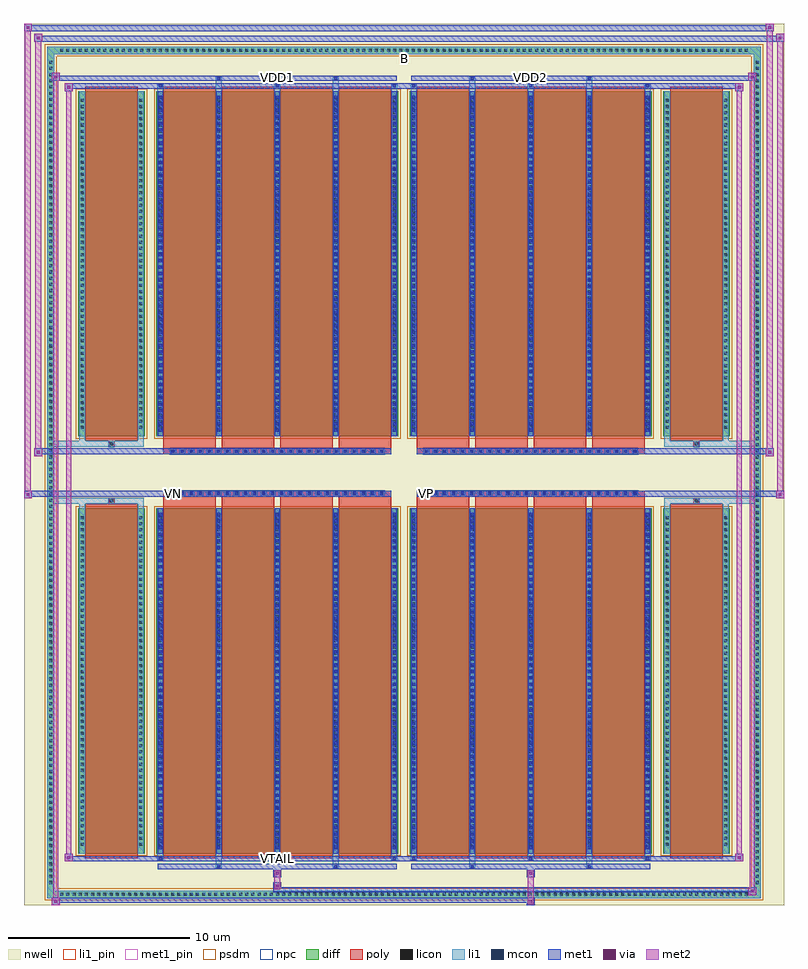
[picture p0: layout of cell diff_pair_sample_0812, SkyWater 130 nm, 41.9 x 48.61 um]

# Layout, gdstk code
import gdstk
lib = gdstk.Library(unit=1e-6, precision=5e-09)
def R(c, l, rs):  # rectangles x0, y0, x1, y1
    for r in rs: c.add(gdstk.rectangle(r[:2], r[2:], *l))
def A(c, l, x, y, w, h, nx, ny, dx, dy):  # array of equal rectangles
    R(c, l, [(x+i*dx, y+j*dy, x+i*dx+w, y+j*dy+h) for i in range(nx) for j in range(ny)])
def P(c, l, *ps):  # polygons
    for p in ps: c.add(gdstk.Polygon(p, *l))
nwell = (64, 20)
diff = (65, 20)
poly = (66, 20)
licon = (66, 44)
li1_pin = (67, 16)
li1 = (67, 20)
mcon = (67, 44)
met1_pin = (68, 16)
met1 = (68, 20)
via = (68, 44)
met2 = (69, 20)
psdm = (94, 20)
npc = (95, 20)

diff_pair_sample_0812 = lib.new_cell('diff_pair_sample_0812')
R(diff_pair_sample_0812, nwell, [(-20.95,-23.87,20.95,24.74), (-18.27,-22.06,-0.01,-0.8), (0.01,-22.06,18.27,-0.8), (-18.27,0.8,-0.01,22.06), (0.01,0.8,18.27,22.06)])
A(diff_pair_sample_0812, diff, -19.075, -23.47, 0.41, 0.41, 112, 2, 0.34, 46.53)
A(diff_pair_sample_0812, diff, -19.68, -22.815, 0.41, 0.41, 1, 134, 0, 0.34)
A(diff_pair_sample_0812, diff, 19.27, -22.815, 0.41, 0.41, 1, 134, 0, 0.34)
R(diff_pair_sample_0812, diff, [(-19.075,-23.47,19.075,-23.06), (-19.68,-22.815,-19.27,22.815), (19.27,-22.815,19.68,22.815), (-17.96,-21.015,-14.29,-1.985), (-13.65,-21.015,-0.32,-1.985), (0.32,-21.015,13.65,-1.985), (14.29,-21.015,17.96,-1.985), (-17.96,1.985,-14.29,21.015), (-13.65,1.985,-0.32,21.015), (0.32,1.985,13.65,21.015), (14.29,1.985,17.96,21.015), (-19.075,23.06,19.075,23.47)])
P(diff_pair_sample_0812, diff, [(19.68,23.47),(-19.68,23.47),(-19.68,-23.06),(-19.27,-23.06),(-19.27,23.06),(19.27,23.06),(19.27,-23.06),(-19.27,-23.06),(-19.68,-23.06),(-19.68,-23.47),(19.68,-23.47)])
A(diff_pair_sample_0812, poly, -13.26, -21.265, 2.89, 19.53, 4, 2, 3.22, 23)
A(diff_pair_sample_0812, poly, 0.71, -21.265, 2.89, 19.53, 4, 2, 3.22, 23)
A(diff_pair_sample_0812, poly, -13.26, -1.735, 2.89, 0.405, 4, 2, 3.22, 3.065)
A(diff_pair_sample_0812, poly, 0.71, -1.735, 2.89, 0.405, 4, 2, 3.22, 3.065)
A(diff_pair_sample_0812, poly, -12.9, -1.33, 0.33, 0.33, 24, 2, 0.5, 2.33)
A(diff_pair_sample_0812, poly, 1.07, -1.33, 0.33, 0.33, 24, 2, 0.5, 2.33)
R(diff_pair_sample_0812, poly, [(-17.57,-21.265,-14.68,-1.735), (14.68,-21.265,17.57,-1.735), (-16.29,-1.735,-15.96,-1.405), (-16.29,-1.735,-15.96,-1.405), (15.96,-1.735,16.29,-1.405), (15.96,-1.735,16.29,-1.405), (-13.26,-1.33,-0.71,-1), (0.71,-1.33,13.26,-1), (-13.26,1,-0.71,1.33), (0.71,1,13.26,1.33), (-16.29,1.405,-15.96,1.735), (-16.29,1.405,-15.96,1.735), (15.96,1.405,16.29,1.735), (15.96,1.405,16.29,1.735), (-17.57,1.735,-14.68,21.265), (14.68,1.735,17.57,21.265)])
A(diff_pair_sample_0812, licon, -18.955, -23.35, 0.17, 0.17, 112, 2, 0.34, 46.53)
A(diff_pair_sample_0812, licon, -19.56, -22.695, 0.17, 0.17, 1, 134, 0, 0.34)
A(diff_pair_sample_0812, licon, 19.39, -22.695, 0.17, 0.17, 1, 134, 0, 0.34)
A(diff_pair_sample_0812, licon, -17.82, -20.595, 0.17, 0.17, 1, 54, 0, 0.34)
A(diff_pair_sample_0812, licon, -14.6, -20.595, 0.17, 0.17, 1, 54, 0, 0.34)
A(diff_pair_sample_0812, licon, -13.51, -20.595, 0.17, 0.17, 5, 54, 3.22, 0.34)
A(diff_pair_sample_0812, licon, 0.46, -20.595, 0.17, 0.17, 5, 54, 3.22, 0.34)
A(diff_pair_sample_0812, licon, 14.43, -20.595, 0.17, 0.17, 1, 54, 0, 0.34)
A(diff_pair_sample_0812, licon, 17.65, -20.595, 0.17, 0.17, 1, 54, 0, 0.34)
A(diff_pair_sample_0812, licon, -12.82, -1.25, 0.17, 0.17, 24, 2, 0.5, 2.33)
A(diff_pair_sample_0812, licon, 1.15, -1.25, 0.17, 0.17, 24, 2, 0.5, 2.33)
A(diff_pair_sample_0812, licon, -17.82, 2.405, 0.17, 0.17, 1, 54, 0, 0.34)
A(diff_pair_sample_0812, licon, -14.6, 2.405, 0.17, 0.17, 1, 54, 0, 0.34)
A(diff_pair_sample_0812, licon, -13.51, 2.405, 0.17, 0.17, 5, 54, 3.22, 0.34)
A(diff_pair_sample_0812, licon, 0.46, 2.405, 0.17, 0.17, 5, 54, 3.22, 0.34)
A(diff_pair_sample_0812, licon, 14.43, 2.405, 0.17, 0.17, 1, 54, 0, 0.34)
A(diff_pair_sample_0812, licon, 17.65, 2.405, 0.17, 0.17, 1, 54, 0, 0.34)
R(diff_pair_sample_0812, licon, [(-16.21,-1.655,-16.04,-1.485), (16.04,-1.655,16.21,-1.485), (-16.21,1.485,-16.04,1.655), (16.04,1.485,16.21,1.655)])
R(diff_pair_sample_0812, li1_pin, [(-0.25,22.56,0.25,23.06)])
A(diff_pair_sample_0812, li1, -19.035, -23.43, 0.33, 0.33, 112, 2, 0.34, 46.53)
A(diff_pair_sample_0812, li1, -19.64, -22.775, 0.33, 0.33, 1, 134, 0, 0.34)
A(diff_pair_sample_0812, li1, 19.31, -22.775, 0.33, 0.33, 1, 134, 0, 0.34)
A(diff_pair_sample_0812, li1, -13.59, -21.39, 0.33, 0.375, 3, 2, 6.44, 42.405)
A(diff_pair_sample_0812, li1, -13.51, -21.39, 0.17, 0.17, 3, 2, 6.44, 42.61)
A(diff_pair_sample_0812, li1, 0.38, -21.39, 0.33, 0.375, 3, 2, 6.44, 42.405)
A(diff_pair_sample_0812, li1, 0.46, -21.39, 0.17, 0.17, 3, 2, 6.44, 42.61)
A(diff_pair_sample_0812, li1, -13.59, -21.015, 0.33, 19.03, 5, 2, 3.22, 23)
A(diff_pair_sample_0812, li1, 0.38, -21.015, 0.33, 19.03, 5, 2, 3.22, 23)
A(diff_pair_sample_0812, li1, -13.51, -20.765, 0.17, 0.17, 5, 52, 3.22, 0.36)
A(diff_pair_sample_0812, li1, -13.51, -20.765, 0.17, 18.53, 5, 2, 3.22, 23)
A(diff_pair_sample_0812, li1, 0.46, -20.765, 0.17, 0.17, 5, 52, 3.22, 0.36)
A(diff_pair_sample_0812, li1, 0.46, -20.765, 0.17, 18.53, 5, 2, 3.22, 23)
A(diff_pair_sample_0812, li1, -17.9, -20.675, 0.33, 0.33, 1, 54, 0, 0.34)
A(diff_pair_sample_0812, li1, -14.68, -20.675, 0.33, 0.33, 1, 54, 0, 0.34)
A(diff_pair_sample_0812, li1, -13.59, -20.675, 0.33, 0.33, 5, 54, 3.22, 0.34)
A(diff_pair_sample_0812, li1, 0.38, -20.675, 0.33, 0.33, 5, 54, 3.22, 0.34)
A(diff_pair_sample_0812, li1, 14.35, -20.675, 0.33, 0.33, 1, 54, 0, 0.34)
A(diff_pair_sample_0812, li1, 17.57, -20.675, 0.33, 0.33, 1, 54, 0, 0.34)
A(diff_pair_sample_0812, li1, -12.9, -1.33, 0.33, 0.33, 24, 2, 0.5, 2.33)
A(diff_pair_sample_0812, li1, 1.07, -1.33, 0.33, 0.33, 24, 2, 0.5, 2.33)
A(diff_pair_sample_0812, li1, -13.51, 2.235, 0.17, 0.17, 5, 52, 3.22, 0.36)
A(diff_pair_sample_0812, li1, 0.46, 2.235, 0.17, 0.17, 5, 52, 3.22, 0.36)
A(diff_pair_sample_0812, li1, -17.9, 2.325, 0.33, 0.33, 1, 54, 0, 0.34)
A(diff_pair_sample_0812, li1, -14.68, 2.325, 0.33, 0.33, 1, 54, 0, 0.34)
A(diff_pair_sample_0812, li1, -13.59, 2.325, 0.33, 0.33, 5, 54, 3.22, 0.34)
A(diff_pair_sample_0812, li1, 0.38, 2.325, 0.33, 0.33, 5, 54, 3.22, 0.34)
A(diff_pair_sample_0812, li1, 14.35, 2.325, 0.33, 0.33, 1, 54, 0, 0.34)
A(diff_pair_sample_0812, li1, 17.57, 2.325, 0.33, 0.33, 1, 54, 0, 0.34)
R(diff_pair_sample_0812, li1, [(-19.68,-23.47,-19.27,-23.06), (-19.68,-23.47,-19.27,-23.06), (-19.27,-23.47,19.27,-23.06), (19.27,-23.47,19.68,-23.06), (19.27,-23.47,19.68,-23.06), (-19.68,-23.06,-19.27,23.06), (19.27,-23.06,19.68,23.06), (-10.37,-21.82,-10.04,-21.015), (-10.29,-21.82,-10.12,-21.65), (-3.93,-21.82,-3.6,-21.015), (-3.85,-21.82,-3.68,-21.65), (3.6,-21.82,3.93,-21.015), (3.68,-21.82,3.85,-21.65), (10.04,-21.82,10.37,-21.015), (10.12,-21.82,10.29,-21.65), (-17.9,-21.015,-17.57,-1.985), (-14.68,-21.015,-14.35,-1.985), (14.35,-21.015,14.68,-1.985), (17.57,-21.015,17.9,-1.985), (-17.9,-1.985,-17.57,-1.405), (-14.68,-1.985,-14.35,-1.405), (14.35,-1.985,14.68,-1.405), (17.57,-1.985,17.9,-1.405), (-19.68,-1.735,-16.29,-1.405), (-17.9,-1.735,-16.29,-1.405), (-16.29,-1.735,-15.96,-1.405), (-15.96,-1.735,-14.35,-1.405), (14.35,-1.735,15.96,-1.405), (15.96,-1.735,16.29,-1.405), (15.96,-1.735,19.68,-1.405), (16.29,-1.735,17.9,-1.405), (-19.68,1.405,-16.29,1.735), (-17.9,1.405,-16.29,1.735), (-17.9,1.405,-17.57,1.985), (-16.29,1.405,-15.96,1.735), (-15.96,1.405,-14.35,1.735), (-14.68,1.405,-14.35,1.985), (14.35,1.405,15.96,1.735), (14.35,1.405,14.68,1.985), (15.96,1.405,16.29,1.735), (15.96,1.405,19.68,1.735), (16.29,1.405,17.9,1.735), (17.57,1.405,17.9,1.985), (-17.9,1.985,-17.57,21.015), (-14.68,1.985,-14.35,21.015), (14.35,1.985,14.68,21.015), (17.57,1.985,17.9,21.015), (-10.37,21.015,-10.04,21.82), (-3.93,21.015,-3.6,21.82), (3.6,21.015,3.93,21.82), (10.04,21.015,10.37,21.82), (-10.29,21.65,-10.12,21.82), (-3.85,21.65,-3.68,21.82), (3.68,21.65,3.85,21.82), (10.12,21.65,10.29,21.82), (-19.68,23.06,-19.27,23.47), (-19.68,23.06,-19.27,23.47), (-19.27,23.06,19.27,23.47), (19.27,23.06,19.68,23.47), (19.27,23.06,19.68,23.47)])
A(diff_pair_sample_0812, mcon, -13.51, -21.39, 0.17, 0.17, 3, 2, 6.44, 42.61)
A(diff_pair_sample_0812, mcon, 0.46, -21.39, 0.17, 0.17, 3, 2, 6.44, 42.61)
A(diff_pair_sample_0812, mcon, -13.51, -20.765, 0.17, 0.17, 5, 52, 3.22, 0.36)
A(diff_pair_sample_0812, mcon, 0.46, -20.765, 0.17, 0.17, 5, 52, 3.22, 0.36)
A(diff_pair_sample_0812, mcon, -12.82, -1.25, 0.17, 0.17, 24, 2, 0.5, 2.33)
A(diff_pair_sample_0812, mcon, 1.15, -1.25, 0.17, 0.17, 24, 2, 0.5, 2.33)
A(diff_pair_sample_0812, mcon, -13.51, 2.235, 0.17, 0.17, 5, 52, 3.22, 0.36)
A(diff_pair_sample_0812, mcon, 0.46, 2.235, 0.17, 0.17, 5, 52, 3.22, 0.36)
R(diff_pair_sample_0812, mcon, [(-10.29,-21.82,-10.12,-21.65), (-3.85,-21.82,-3.68,-21.65), (3.68,-21.82,3.85,-21.65), (10.12,-21.82,10.29,-21.65), (-10.29,21.65,-10.12,21.82), (-3.85,21.65,-3.68,21.82), (3.68,21.65,3.85,21.82), (10.12,21.65,10.29,21.82)])
R(diff_pair_sample_0812, met1_pin, [(-7.12,-21.43,-6.85,-21.16), (-12.87,-1.29,-12.6,-1.02), (1.1,-1.29,1.37,-1.02), (-7.12,21.61,-6.85,21.88), (6.85,21.61,7.12,21.88)])
A(diff_pair_sample_0812, met1, -13.57, -21.45, 0.29, 0.29, 3, 2, 6.44, 42.61)
A(diff_pair_sample_0812, met1, 0.4, -21.45, 0.29, 0.29, 3, 2, 6.44, 42.61)
A(diff_pair_sample_0812, met1, -13.57, -21.015, 0.29, 19.03, 5, 2, 3.22, 23)
A(diff_pair_sample_0812, met1, 0.4, -21.015, 0.29, 19.03, 5, 2, 3.22, 23)
A(diff_pair_sample_0812, met1, -13.57, -20.825, 0.29, 0.29, 5, 52, 3.22, 0.36)
A(diff_pair_sample_0812, met1, 0.4, -20.825, 0.29, 0.29, 5, 52, 3.22, 0.36)
A(diff_pair_sample_0812, met1, -12.88, -1.31, 0.29, 0.29, 24, 2, 0.5, 2.33)
A(diff_pair_sample_0812, met1, 1.09, -1.31, 0.29, 0.29, 24, 2, 0.5, 2.33)
A(diff_pair_sample_0812, met1, -13.57, 2.175, 0.29, 0.29, 5, 52, 3.22, 0.36)
A(diff_pair_sample_0812, met1, 0.4, 2.175, 0.29, 0.29, 5, 52, 3.22, 0.36)
R(diff_pair_sample_0812, met1, [(-19.41,-23.87,-18.98,-23.44), (6.77,-23.87,7.2,-23.44), (-19.41,-23.73,7.2,-23.44), (18.98,-23.3,19.41,-22.87), (-7.2,-23.16,19.41,-22.87), (-7.2,-23.02,-6.77,-22.59), (-7.2,-22.31,-6.77,-21.88), (6.77,-22.31,7.2,-21.88), (-13.57,-21.88,-0.4,-21.59), (-10.35,-21.88,-10.06,-21.59), (-3.91,-21.88,-3.62,-21.59), (0.4,-21.88,13.57,-21.59), (3.62,-21.88,3.91,-21.59), (10.06,-21.88,10.35,-21.59), (-18.7,-21.45,-18.27,-21.02), (-18.7,-21.45,-13.57,-21.16), (-13.57,-21.45,-0.4,-21.16), (-0.4,-21.45,0.4,-21.16), (0.4,-21.45,13.57,-21.16), (13.57,-21.45,18.7,-21.16), (18.27,-21.45,18.7,-21.02), (-20.95,-1.43,-20.52,-1), (20.52,-1.43,20.95,-1), (-20.95,-1.33,-0.71,-1), (-13.26,-1.33,-0.71,-1), (0.71,-1.33,13.26,-1), (0.71,-1.33,20.95,-1), (-20.38,0.9,-19.95,1.33), (19.95,0.9,20.38,1.33), (-20.38,1,-13.26,1.33), (-13.26,1,-0.71,1.33), (0.71,1,13.26,1.33), (13.26,1,20.38,1.33), (-18.7,21.02,-18.27,21.45), (18.27,21.02,18.7,21.45), (-18.7,21.16,-13.57,21.45), (-13.57,21.16,-0.4,21.45), (-0.4,21.16,0.4,21.45), (0.4,21.16,13.57,21.45), (13.57,21.16,18.7,21.45), (-19.41,21.59,-18.98,22.02), (-19.41,21.59,-13.57,21.88), (-13.57,21.59,-0.4,21.88), (-10.35,21.59,-10.06,21.88), (-3.91,21.59,-3.62,21.88), (0.4,21.59,13.57,21.88), (3.62,21.59,3.91,21.88), (10.06,21.59,10.35,21.88), (13.57,21.59,19.41,21.88), (18.98,21.59,19.41,22.02), (-20.38,23.74,-19.95,24.17), (-20.38,23.74,-18.27,24.07), (-18.27,23.74,18.27,24.07), (18.27,23.74,20.95,24.07), (20.52,23.74,20.95,24.17), (-20.95,24.31,-20.52,24.74), (-20.95,24.31,-18.27,24.64), (-18.27,24.31,18.27,24.64), (18.27,24.31,20.38,24.64), (19.95,24.31,20.38,24.74)])
R(diff_pair_sample_0812, via, [(-19.27,-23.73,-19.12,-23.58), (6.91,-23.73,7.06,-23.58), (19.12,-23.16,19.27,-23.01), (-7.06,-22.88,-6.91,-22.73), (-7.06,-22.17,-6.91,-22.02), (6.91,-22.17,7.06,-22.02), (-18.56,-21.31,-18.41,-21.16), (18.41,-21.31,18.56,-21.16), (-20.81,-1.29,-20.66,-1.14), (20.66,-1.29,20.81,-1.14), (-20.24,1.04,-20.09,1.19), (20.09,1.04,20.24,1.19), (-18.56,21.16,-18.41,21.31), (18.41,21.16,18.56,21.31), (-19.27,21.73,-19.12,21.88), (19.12,21.73,19.27,21.88), (-20.24,23.88,-20.09,24.03), (20.66,23.88,20.81,24.03), (-20.81,24.45,-20.66,24.6), (20.09,24.45,20.24,24.6)])
R(diff_pair_sample_0812, met2, [(-19.41,-23.87,-18.98,-23.44), (-19.34,-23.87,-19.05,22.02), (-19.05,-23.87,-18.98,-23.44), (-19.36,-23.82,-19.03,-23.49), (6.82,-23.82,7.15,-23.49), (6.82,-23.49,7.15,-22.26), (18.98,-23.3,19.41,-22.87), (19.05,-23.3,19.34,22.02), (19.34,-23.3,19.41,-22.87), (19.03,-23.25,19.36,-22.92), (-7.15,-22.97,-6.82,-22.64), (-7.15,-22.64,-6.82,-22.26), (-7.15,-22.26,-6.82,-21.93), (6.82,-22.26,7.15,-21.93), (-18.7,-21.45,-18.27,-21.02), (-18.63,-21.45,-18.34,21.45), (-18.34,-21.45,-18.27,-21.02), (18.27,-21.45,18.7,-21.02), (18.34,-21.45,18.63,21.45), (18.63,-21.45,18.7,-21.02), (-18.65,-21.4,-18.32,-21.07), (18.32,-21.4,18.65,-21.07), (-20.95,-1.43,-20.52,-1), (-20.9,-1.43,-20.57,24.74), (-20.57,-1.43,-20.52,-1), (20.52,-1.43,20.95,-1), (20.57,-1.43,20.9,24.17), (20.9,-1.43,20.95,-1), (-20.9,-1.38,-20.57,-1.05), (20.57,-1.38,20.9,-1.05), (-20.38,0.9,-19.95,1.33), (-20.33,0.9,-20,24.17), (-20,0.9,-19.95,1.33), (19.95,0.9,20.38,1.33), (20,0.9,20.33,24.74), (20.33,0.9,20.38,1.33), (-20.33,0.95,-20,1.28), (20,0.95,20.33,1.28), (-18.7,21.02,-18.27,21.45), (-18.34,21.02,-18.27,21.45), (18.27,21.02,18.7,21.45), (18.63,21.02,18.7,21.45), (-18.65,21.07,-18.32,21.4), (18.32,21.07,18.65,21.4), (-19.41,21.59,-18.98,22.02), (-19.05,21.59,-18.98,22.02), (18.98,21.59,19.41,22.02), (19.34,21.59,19.41,22.02), (-19.36,21.64,-19.03,21.97), (19.03,21.64,19.36,21.97), (-20.38,23.74,-19.95,24.17), (-20,23.74,-19.95,24.17), (20.52,23.74,20.95,24.17), (20.9,23.74,20.95,24.17), (-20.33,23.79,-20,24.12), (20.57,23.79,20.9,24.12), (-20.95,24.31,-20.52,24.74), (-20.57,24.31,-20.52,24.74), (19.95,24.31,20.38,24.74), (20.33,24.31,20.38,24.74), (-20.9,24.36,-20.57,24.69), (20,24.36,20.33,24.69)])
R(diff_pair_sample_0812, psdm, [(-18.09,-21.145,-14.16,-1.855), (-13.78,-21.145,-0.19,-1.855), (0.19,-21.145,13.78,-1.855), (14.16,-21.145,18.09,-1.855), (-18.09,1.855,-14.16,21.145), (-13.78,1.855,-0.19,21.145), (0.19,1.855,13.78,21.145), (14.16,1.855,18.09,21.145)])
P(diff_pair_sample_0812, psdm, [(19.81,23.6),(-19.81,23.6),(-19.81,-22.93),(-19.14,-22.93),(-19.14,22.93),(19.14,22.93),(19.14,-22.93),(-19.14,-22.93),(-19.81,-22.93),(-19.81,-23.6),(19.81,-23.6)])
A(diff_pair_sample_0812, npc, -12.92, -1.35, 0.37, 0.37, 24, 2, 0.5, 2.33)
A(diff_pair_sample_0812, npc, 1.05, -1.35, 0.37, 0.37, 24, 2, 0.5, 2.33)
R(diff_pair_sample_0812, npc, [(-16.31,-1.755,-15.94,-1.385), (15.94,-1.755,16.31,-1.385), (-12.92,-1.35,-12.05,-0.98), (-12.92,-1.35,-12.05,-0.98), (-12.42,-1.35,-11.55,-0.98), (-12.42,-1.35,-11.55,-0.98), (-11.92,-1.35,-11.05,-0.98), (-11.92,-1.35,-11.05,-0.98), (-11.42,-1.35,-10.55,-0.98), (-11.42,-1.35,-10.55,-0.98), (-10.92,-1.35,-10.05,-0.98), (-10.92,-1.35,-10.05,-0.98), (-10.42,-1.35,-9.55,-0.98), (-10.42,-1.35,-9.55,-0.98), (-9.92,-1.35,-9.05,-0.98), (-9.92,-1.35,-9.05,-0.98), (-9.42,-1.35,-8.55,-0.98), (-9.42,-1.35,-8.55,-0.98), (-8.92,-1.35,-8.05,-0.98), (-8.92,-1.35,-8.05,-0.98), (-8.42,-1.35,-7.55,-0.98), (-8.42,-1.35,-7.55,-0.98), (-7.92,-1.35,-7.05,-0.98), (-7.92,-1.35,-7.05,-0.98), (-7.42,-1.35,-6.55,-0.98), (-7.42,-1.35,-6.55,-0.98), (-6.92,-1.35,-6.05,-0.98), (-6.92,-1.35,-6.05,-0.98), (-6.42,-1.35,-5.55,-0.98), (-6.42,-1.35,-5.55,-0.98), (-5.92,-1.35,-5.05,-0.98), (-5.92,-1.35,-5.05,-0.98), (-5.42,-1.35,-4.55,-0.98), (-5.42,-1.35,-4.55,-0.98), (-4.92,-1.35,-4.05,-0.98), (-4.92,-1.35,-4.05,-0.98), (-4.42,-1.35,-3.55,-0.98), (-4.42,-1.35,-3.55,-0.98), (-3.92,-1.35,-3.05,-0.98), (-3.92,-1.35,-3.05,-0.98), (-3.42,-1.35,-2.55,-0.98), (-3.42,-1.35,-2.55,-0.98), (-2.92,-1.35,-2.05,-0.98), (-2.92,-1.35,-2.05,-0.98), (-2.42,-1.35,-1.55,-0.98), (-2.42,-1.35,-1.55,-0.98), (-1.92,-1.35,-1.05,-0.98), (-1.92,-1.35,-1.05,-0.98), (1.05,-1.35,1.92,-0.98), (1.05,-1.35,1.92,-0.98), (1.55,-1.35,2.42,-0.98), (1.55,-1.35,2.42,-0.98), (2.05,-1.35,2.92,-0.98), (2.05,-1.35,2.92,-0.98), (2.55,-1.35,3.42,-0.98), (2.55,-1.35,3.42,-0.98), (3.05,-1.35,3.92,-0.98), (3.05,-1.35,3.92,-0.98), (3.55,-1.35,4.42,-0.98), (3.55,-1.35,4.42,-0.98), (4.05,-1.35,4.92,-0.98), (4.05,-1.35,4.92,-0.98), (4.55,-1.35,5.42,-0.98), (4.55,-1.35,5.42,-0.98), (5.05,-1.35,5.92,-0.98), (5.05,-1.35,5.92,-0.98), (5.55,-1.35,6.42,-0.98), (5.55,-1.35,6.42,-0.98), (6.05,-1.35,6.92,-0.98), (6.05,-1.35,6.92,-0.98), (6.55,-1.35,7.42,-0.98), (6.55,-1.35,7.42,-0.98), (7.05,-1.35,7.92,-0.98), (7.05,-1.35,7.92,-0.98), (7.55,-1.35,8.42,-0.98), (7.55,-1.35,8.42,-0.98), (8.05,-1.35,8.92,-0.98), (8.05,-1.35,8.92,-0.98), (8.55,-1.35,9.42,-0.98), (8.55,-1.35,9.42,-0.98), (9.05,-1.35,9.92,-0.98), (9.05,-1.35,9.92,-0.98), (9.55,-1.35,10.42,-0.98), (9.55,-1.35,10.42,-0.98), (10.05,-1.35,10.92,-0.98), (10.05,-1.35,10.92,-0.98), (10.55,-1.35,11.42,-0.98), (10.55,-1.35,11.42,-0.98), (11.05,-1.35,11.92,-0.98), (11.05,-1.35,11.92,-0.98), (11.55,-1.35,12.42,-0.98), (11.55,-1.35,12.42,-0.98), (12.05,-1.35,12.92,-0.98), (12.05,-1.35,12.92,-0.98), (-12.92,0.98,-12.05,1.35), (-12.92,0.98,-12.05,1.35), (-12.42,0.98,-11.55,1.35), (-12.42,0.98,-11.55,1.35), (-11.92,0.98,-11.05,1.35), (-11.92,0.98,-11.05,1.35), (-11.42,0.98,-10.55,1.35), (-11.42,0.98,-10.55,1.35), (-10.92,0.98,-10.05,1.35), (-10.92,0.98,-10.05,1.35), (-10.42,0.98,-9.55,1.35), (-10.42,0.98,-9.55,1.35), (-9.92,0.98,-9.05,1.35), (-9.92,0.98,-9.05,1.35), (-9.42,0.98,-8.55,1.35), (-9.42,0.98,-8.55,1.35), (-8.92,0.98,-8.05,1.35), (-8.92,0.98,-8.05,1.35), (-8.42,0.98,-7.55,1.35), (-8.42,0.98,-7.55,1.35), (-7.92,0.98,-7.05,1.35), (-7.92,0.98,-7.05,1.35), (-7.42,0.98,-6.55,1.35), (-7.42,0.98,-6.55,1.35), (-6.92,0.98,-6.05,1.35), (-6.92,0.98,-6.05,1.35), (-6.42,0.98,-5.55,1.35), (-6.42,0.98,-5.55,1.35), (-5.92,0.98,-5.05,1.35), (-5.92,0.98,-5.05,1.35), (-5.42,0.98,-4.55,1.35), (-5.42,0.98,-4.55,1.35), (-4.92,0.98,-4.05,1.35), (-4.92,0.98,-4.05,1.35), (-4.42,0.98,-3.55,1.35), (-4.42,0.98,-3.55,1.35), (-3.92,0.98,-3.05,1.35), (-3.92,0.98,-3.05,1.35), (-3.42,0.98,-2.55,1.35), (-3.42,0.98,-2.55,1.35), (-2.92,0.98,-2.05,1.35), (-2.92,0.98,-2.05,1.35), (-2.42,0.98,-1.55,1.35), (-2.42,0.98,-1.55,1.35), (-1.92,0.98,-1.05,1.35), (-1.92,0.98,-1.05,1.35), (1.05,0.98,1.92,1.35), (1.05,0.98,1.92,1.35), (1.55,0.98,2.42,1.35), (1.55,0.98,2.42,1.35), (2.05,0.98,2.92,1.35), (2.05,0.98,2.92,1.35), (2.55,0.98,3.42,1.35), (2.55,0.98,3.42,1.35), (3.05,0.98,3.92,1.35), (3.05,0.98,3.92,1.35), (3.55,0.98,4.42,1.35), (3.55,0.98,4.42,1.35), (4.05,0.98,4.92,1.35), (4.05,0.98,4.92,1.35), (4.55,0.98,5.42,1.35), (4.55,0.98,5.42,1.35), (5.05,0.98,5.92,1.35), (5.05,0.98,5.92,1.35), (5.55,0.98,6.42,1.35), (5.55,0.98,6.42,1.35), (6.05,0.98,6.92,1.35), (6.05,0.98,6.92,1.35), (6.55,0.98,7.42,1.35), (6.55,0.98,7.42,1.35), (7.05,0.98,7.92,1.35), (7.05,0.98,7.92,1.35), (7.55,0.98,8.42,1.35), (7.55,0.98,8.42,1.35), (8.05,0.98,8.92,1.35), (8.05,0.98,8.92,1.35), (8.55,0.98,9.42,1.35), (8.55,0.98,9.42,1.35), (9.05,0.98,9.92,1.35), (9.05,0.98,9.92,1.35), (9.55,0.98,10.42,1.35), (9.55,0.98,10.42,1.35), (10.05,0.98,10.92,1.35), (10.05,0.98,10.92,1.35), (10.55,0.98,11.42,1.35), (10.55,0.98,11.42,1.35), (11.05,0.98,11.92,1.35), (11.05,0.98,11.92,1.35), (11.55,0.98,12.42,1.35), (11.55,0.98,12.42,1.35), (12.05,0.98,12.92,1.35), (12.05,0.98,12.92,1.35), (-16.31,1.385,-15.94,1.755), (15.94,1.385,16.31,1.755)])
diff_pair_sample_0812.add(gdstk.Label('VTAIL', (-6.985,-21.295), layer=68, texttype=5))
diff_pair_sample_0812.add(gdstk.Label('VN', (-12.735,-1.155), layer=68, texttype=5))
diff_pair_sample_0812.add(gdstk.Label('VP', (1.235,-1.155), layer=68, texttype=5))
diff_pair_sample_0812.add(gdstk.Label('B', (0,22.81), layer=67, texttype=5))
diff_pair_sample_0812.add(gdstk.Label('VDD2', (6.985,21.745), layer=68, texttype=5))
diff_pair_sample_0812.add(gdstk.Label('VDD1', (-6.985,21.745), layer=68, texttype=5))

lib.write_gds('diff_pair_sample_0812.gds')
